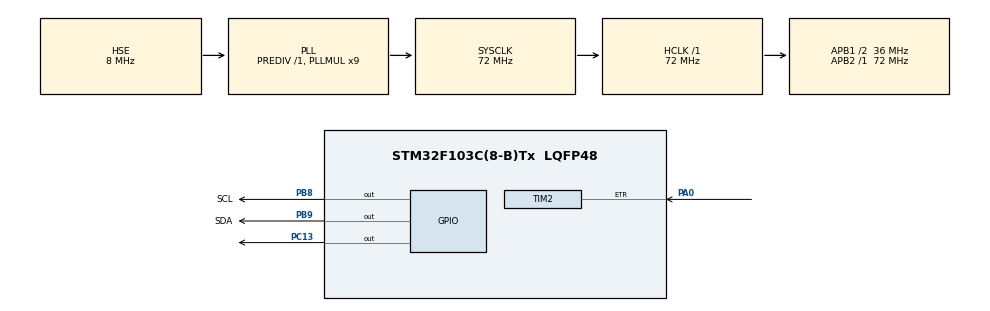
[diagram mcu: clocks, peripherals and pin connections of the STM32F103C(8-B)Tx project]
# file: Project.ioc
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Mcu.Family=STM32F1
Mcu.Name=STM32F103C(8-B)Tx
Mcu.Package=LQFP48
NVIC.PriorityGroup=NVIC_PRIORITYGROUP_4
NVIC.TIM2_IRQn=true\:2\:0\:true\:false\:true\:true\:true\:true
PA0-WKUP.GPIO_PuPd=GPIO_PULLUP
PA0-WKUP.Signal=S_TIM2_CH1_ETR
PA13.Mode=Serial_Wire
PA13.Signal=SYS_JTMS-SWDIO
PA14.Mode=Serial_Wire
PA14.Signal=SYS_JTCK-SWCLK
PB8.GPIO_Label=SCL
PB8.GPIO_ModeDefaultOutputPP=GPIO_MODE_OUTPUT_OD
PB8.GPIO_PuPd=GPIO_NOPULL
PB8.GPIO_Speed=GPIO_SPEED_FREQ_HIGH
PB8.Signal=GPIO_Output
PB9.GPIO_Label=SDA
PB9.GPIO_ModeDefaultOutputPP=GPIO_MODE_OUTPUT_OD
PB9.GPIO_PuPd=GPIO_NOPULL
PB9.GPIO_Speed=GPIO_SPEED_FREQ_HIGH
PB9.Signal=GPIO_Output
PC13-TAMPER-RTC.GPIO_PuPd=GPIO_PULLDOWN
PC13-TAMPER-RTC.Signal=GPIO_Output
PD0-OSC_IN.Mode=HSE-External-Oscillator
PD0-OSC_IN.Signal=RCC_OSC_IN
PD1-OSC_OUT.Mode=HSE-External-Oscillator
PD1-OSC_OUT.Signal=RCC_OSC_OUT
ProjectManager.HeapSize=0x200
ProjectManager.StackSize=0x400
ProjectManager.TargetToolchain=MDK-ARM V5.32
RCC.AHBFreq_Value=72000000
RCC.APB1CLKDivider=RCC_HCLK_DIV2
RCC.APB1Freq_Value=36000000
RCC.APB1TimFreq_Value=72000000
RCC.APB2Freq_Value=72000000
RCC.APB2TimFreq_Value=72000000
RCC.HCLKFreq_Value=72000000
RCC.PLLMUL=RCC_PLL_MUL9
RCC.PLLSourceVirtual=RCC_PLLSOURCE_HSE
RCC.SYSCLKFreq_VALUE=72000000
RCC.SYSCLKSource=RCC_SYSCLKSOURCE_PLLCLK
RCC.USBFreq_Value=72000000
SH.S_TIM2_CH1_ETR.0=TIM2_ETR,ClockSourceETR_Mode2
TIM2.ClockFilter=15
TIM2.ClockPolarity=TIM_CLOCKPOLARITY_INVERTED
TIM2.Period=10-1
TIM2.Prescaler=1-1
board=custom

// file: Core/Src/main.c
/* USER CODE BEGIN Header */
/**
  ******************************************************************************
  * @file           : main.c
  * @brief          : Main program body
  ******************************************************************************
  * @attention
  *
  * Copyright (c) 2025 STMicroelectronics.
  * All rights reserved.
  *
  * This software is licensed under terms that can be found in the LICENSE file
  * in the root directory of this software component.
  * If no LICENSE file comes with this software, it is provided AS-IS.
  *
  ******************************************************************************
  */
/* USER CODE END Header */
#include "main.h"
#include "tim.h"
#include "gpio.h"

/* USER CODE BEGIN Includes */
#include "OLED.h"
#include "Timer.h"
/* USER CODE END Includes */

/* USER CODE BEGIN PD */

uint16_t Num;			//定义在定时器中断里自增的变量

/* USER CODE END PD */

void SystemClock_Config(void);

/* USER CODE BEGIN 0 */

// 滴答定时器中断回调函数
void HAL_SYSTICK_Callback(void)
{
    // 每500ms翻转一次PC13引脚状态
    if(uwTick % 500 == 0)
    {
        HAL_GPIO_TogglePin(GPIOC, GPIO_PIN_13);
    }
}

/* 定时器中断回调函数 */
void HAL_TIM_PeriodElapsedCallback(TIM_HandleTypeDef *htim)
{
    //判断是否是TIM2的更新事件触发的中断
    if (htim->Instance == TIM2)
    {
        Num ++;		              //Num变量自增，用于测试定时中断
    }
}

/* USER CODE END 0 */

int main(void)
{

  /* MCU Configuration--------------------------------------------------------*/

  /* Reset of all peripherals, Initializes the Flash interface and the Systick. */
  HAL_Init();

  /* Configure the system clock */
  SystemClock_Config();

  /* Initialize all configured peripherals */
  MX_GPIO_Init();
  MX_TIM2_Init();
  /* USER CODE BEGIN 2 */

  /*模块初始化*/
  OLED_Init();		    //OLED初始化
  Timer_Init();		    //定时中断初始化

  /*显示静态字符串*/
  OLED_ShowString(1, 1, "Num:");			//1行1列显示字符串Num:
  OLED_ShowString(2, 1, "CNT:");			//2行1列显示字符串CNT:

  /* USER CODE END 2 */

  /* Infinite loop */
  /* USER CODE BEGIN WHILE */
  while (1)
  {
    OLED_ShowNum(1, 5, Num, 5);			            //不断刷新显示Num变量
    OLED_ShowNum(2, 5, Timer_GetCounter(), 5);		//不断刷新显示CNT的值
    /* USER CODE END WHILE */

  }
}

void SystemClock_Config(void)
{
  RCC_OscInitTypeDef RCC_OscInitStruct = {0};
  RCC_ClkInitTypeDef RCC_ClkInitStruct = {0};

  /** Initializes the RCC Oscillators according to the specified parameters
  * in the RCC_OscInitTypeDef structure.
  */
  RCC_OscInitStruct.OscillatorType = RCC_OSCILLATORTYPE_HSE;
  RCC_OscInitStruct.HSEState = RCC_HSE_ON;
  RCC_OscInitStruct.HSEPredivValue = RCC_HSE_PREDIV_DIV1;
  RCC_OscInitStruct.HSIState = RCC_HSI_ON;
  RCC_OscInitStruct.PLL.PLLState = RCC_PLL_ON;
  RCC_OscInitStruct.PLL.PLLSource = RCC_PLLSOURCE_HSE;
  RCC_OscInitStruct.PLL.PLLMUL = RCC_PLL_MUL9;
  if (HAL_RCC_OscConfig(&RCC_OscInitStruct) != HAL_OK)
  {
    Error_Handler();
  }

  /** Initializes the CPU, AHB and APB buses clocks
  */
  RCC_ClkInitStruct.ClockType = RCC_CLOCKTYPE_HCLK|RCC_CLOCKTYPE_SYSCLK
                              |RCC_CLOCKTYPE_PCLK1|RCC_CLOCKTYPE_PCLK2;
  RCC_ClkInitStruct.SYSCLKSource = RCC_SYSCLKSOURCE_PLLCLK;
  RCC_ClkInitStruct.AHBCLKDivider = RCC_SYSCLK_DIV1;
  RCC_ClkInitStruct.APB1CLKDivider = RCC_HCLK_DIV2;
  RCC_ClkInitStruct.APB2CLKDivider = RCC_HCLK_DIV1;

  if (HAL_RCC_ClockConfig(&RCC_ClkInitStruct, FLASH_LATENCY_2) != HAL_OK)
  {
    Error_Handler();
  }
}

void Error_Handler(void)
{
  __disable_irq();
  while (1)
  {
  }
}
